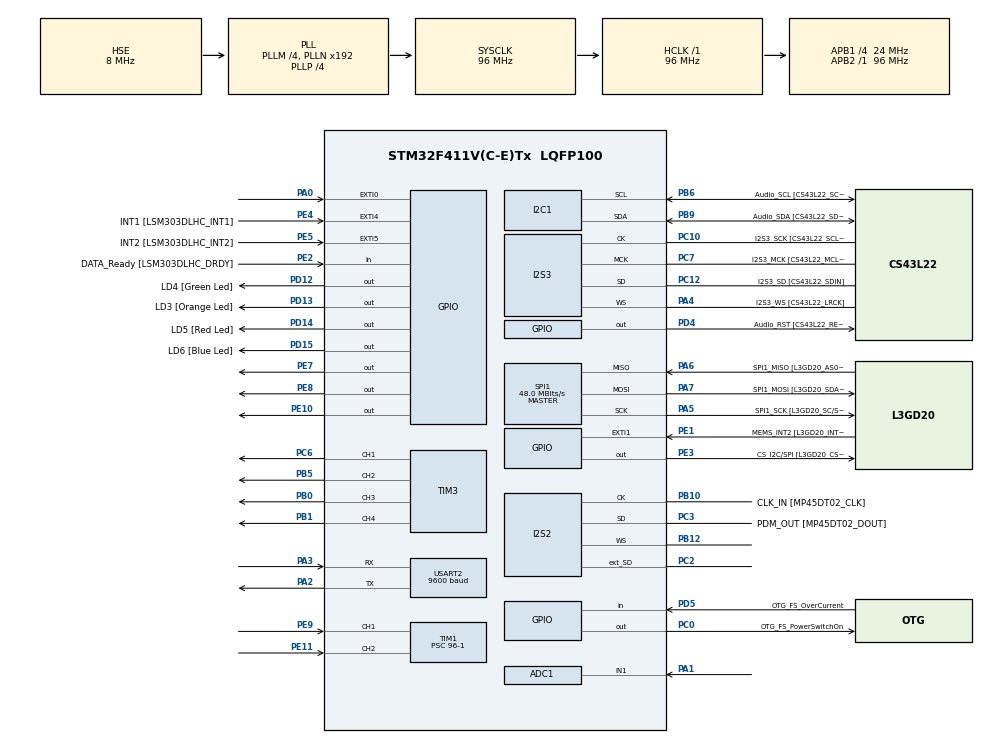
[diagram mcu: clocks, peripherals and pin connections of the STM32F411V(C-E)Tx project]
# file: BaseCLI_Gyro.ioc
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ADC1.Channel-0\#ChannelRegularConversion=ADC_CHANNEL_1
ADC1.NbrOfConversionFlag=1
ADC1.Rank-0\#ChannelRegularConversion=1
ADC1.SamplingTime-0\#ChannelRegularConversion=ADC_SAMPLETIME_3CYCLES
ADC1.master=1
I2S2.AudioFreq=I2S_AUDIOFREQ_96K
I2S2.ErrorAudioFreq=0.15 %
I2S2.FullDuplexMode=I2S_FULLDUPLEXMODE_ENABLE
I2S2.Instance=SPI$Index
I2S2.RealAudioFreq=96.153 KHz
I2S2.VirtualMode=I2S_MODE_MASTER
I2S3.AudioFreq=I2S_AUDIOFREQ_96K
I2S3.ErrorAudioFreq=-6.99 %
I2S3.FullDuplexMode=I2S_FULLDUPLEXMODE_DISABLE
I2S3.Instance=SPI$Index
I2S3.RealAudioFreq=89.285 KHz
I2S3.VirtualMode=I2S_MODE_MASTER
Mcu.Family=STM32F4
Mcu.Name=STM32F411V(C-E)Tx
Mcu.Package=LQFP100
NVIC.EXTI0_IRQn=true\:0\:0\:false\:false\:true\:true\:true\:true
NVIC.PriorityGroup=NVIC_PRIORITYGROUP_0
NVIC.TIM1_CC_IRQn=true\:0\:0\:false\:false\:true\:true\:true\:true
NVIC.USART2_IRQn=true\:0\:0\:false\:false\:true\:true\:true\:true
PA0-WKUP.GPIO_ModeDefaultEXTI=GPIO_MODE_IT_RISING
PA0-WKUP.Signal=GPXTI0
PA1.Signal=ADCx_IN1
PA10.GPIO_Label=OTG_FS_ID
PA10.Signal=USB_OTG_FS_ID
PA11.GPIO_Label=OTG_FS_DM
PA11.Signal=USB_OTG_FS_DM
PA12.GPIO_Label=OTG_FS_DP
PA12.Signal=USB_OTG_FS_DP
PA13.GPIO_Label=SWDIO
PA13.Mode=Serial_Wire
PA13.Signal=SYS_JTMS-SWDIO
PA14.GPIO_Label=SWCLK
PA14.Mode=Serial_Wire
PA14.Signal=SYS_JTCK-SWCLK
PA2.Mode=Asynchronous
PA2.Signal=USART2_TX
PA3.Mode=Asynchronous
PA3.Signal=USART2_RX
PA4.GPIO_Label=I2S3_WS [CS43L22_LRCK]
PA4.GPIO_Mode=GPIO_MODE_AF_PP
PA4.GPIO_PuPd=GPIO_NOPULL
PA4.GPIO_Speed=GPIO_SPEED_FREQ_LOW
PA4.Mode=Half_Duplex_Master
PA4.Signal=I2S3_WS
PA5.GPIO_Label=SPI1_SCK [L3GD20_SC/SPC]
PA5.Mode=Full_Duplex_Master
PA5.Signal=SPI1_SCK
PA6.GPIO_Label=SPI1_MISO [L3GD20_AS0/SDO]
PA6.Mode=Full_Duplex_Master
PA6.Signal=SPI1_MISO
PA7.GPIO_Label=SPI1_MOSI [L3GD20_SDA/SDI/SDO]
PA7.Mode=Full_Duplex_Master
PA7.Signal=SPI1_MOSI
PA9.GPIO_Label=VBUS_FS
PA9.Signal=USB_OTG_FS_VBUS
PB0.Signal=S_TIM3_CH3
PB1.Signal=S_TIM3_CH4
PB10.GPIO_Label=CLK_IN [MP45DT02_CLK]
PB10.Mode=Full_Duplex_Master
PB10.Signal=I2S2_CK
PB12.Mode=Full_Duplex_Master
PB12.Signal=I2S2_WS
PB3.GPIO_Label=SWO
PB3.Signal=SYS_JTDO-SWO
PB5.Signal=S_TIM3_CH2
PB6.GPIO_Label=Audio_SCL [CS43L22_SCL]
PB6.GPIO_Mode=GPIO_MODE_AF_OD
PB6.GPIO_Pu=GPIO_PULLUP
PB6.GPIO_PuPd=GPIO_NOPULL
PB6.GPIO_Speed=GPIO_SPEED_FREQ_LOW
PB6.Mode=I2C
PB6.Signal=I2C1_SCL
PB9.GPIO_Label=Audio_SDA [CS43L22_SDA]
PB9.GPIO_Mode=GPIO_MODE_AF_OD
PB9.GPIO_Pu=GPIO_PULLUP
PB9.GPIO_PuPd=GPIO_NOPULL
PB9.GPIO_Speed=GPIO_SPEED_FREQ_LOW
PB9.Mode=I2C
PB9.Signal=I2C1_SDA
PC0.GPIO_Label=OTG_FS_PowerSwitchOn
PC0.PinState=GPIO_PIN_SET
PC0.Signal=GPIO_Output
PC10.GPIO_Label=I2S3_SCK [CS43L22_SCLK]
PC10.GPIO_Mode=GPIO_MODE_AF_PP
PC10.GPIO_PuPd=GPIO_NOPULL
PC10.GPIO_Speed=GPIO_SPEED_FREQ_LOW
PC10.Mode=Half_Duplex_Master
PC10.Signal=I2S3_CK
PC12.GPIO_Label=I2S3_SD [CS43L22_SDIN]
PC12.GPIO_Mode=GPIO_MODE_AF_PP
PC12.GPIO_PuPd=GPIO_NOPULL
PC12.GPIO_Speed=GPIO_SPEED_FREQ_LOW
PC12.Mode=Half_Duplex_Master
PC12.Signal=I2S3_SD
PC14-OSC32_IN.GPIO_Label=PC14-OSC32_IN
PC14-OSC32_IN.Mode=LSE-External-Oscillator
PC14-OSC32_IN.Signal=RCC_OSC32_IN
PC15-OSC32_OUT.GPIO_Label=PC15-OSC32_OUT
PC15-OSC32_OUT.Mode=LSE-External-Oscillator
PC15-OSC32_OUT.Signal=RCC_OSC32_OUT
PC2.Mode=Full_Duplex_Master
PC2.Signal=I2S2_ext_SD
PC3.GPIO_Label=PDM_OUT [MP45DT02_DOUT]
PC3.Mode=Full_Duplex_Master
PC3.Signal=I2S2_SD
PC6.Signal=S_TIM3_CH1
PC7.GPIO_Label=I2S3_MCK [CS43L22_MCLK]
PC7.GPIO_Mode=GPIO_MODE_AF_PP
PC7.GPIO_PuPd=GPIO_NOPULL
PC7.GPIO_Speed=GPIO_SPEED_FREQ_LOW
PC7.Mode=Master_Clock_Activated
PC7.Signal=I2S3_MCK
PD12.GPIO_Label=LD4 [Green Led]
PD12.GPIO_PuPd=GPIO_NOPULL
PD12.GPIO_Speed=GPIO_SPEED_FREQ_LOW
PD12.Signal=GPIO_Output
PD13.GPIO_Label=LD3 [Orange Led]
PD13.GPIO_PuPd=GPIO_NOPULL
PD13.GPIO_Speed=GPIO_SPEED_FREQ_LOW
PD13.Signal=GPIO_Output
PD14.GPIO_Label=LD5 [Red Led]
PD14.GPIO_PuPd=GPIO_NOPULL
PD14.GPIO_Speed=GPIO_SPEED_FREQ_LOW
PD14.Signal=GPIO_Output
PD15.GPIO_Label=LD6 [Blue Led]
PD15.GPIO_PuPd=GPIO_NOPULL
PD15.GPIO_Speed=GPIO_SPEED_FREQ_LOW
PD15.Signal=GPIO_Output
PD4.GPIO_Label=Audio_RST [CS43L22_RESET]
PD4.Signal=GPIO_Output
PD5.GPIO_Label=OTG_FS_OverCurrent
PD5.Signal=GPIO_Input
PE1.GPIO_Label=MEMS_INT2 [L3GD20_INT2]
PE1.GPIO_ModeDefaultEXTI=GPIO_MODE_EVT_RISING
PE1.Signal=GPXTI1
PE10.Signal=GPIO_Output
PE11.Signal=S_TIM1_CH2
PE2.GPIO_Label=DATA_Ready [LSM303DLHC_DRDY]
PE2.Signal=GPIO_Input
PE3.GPIO_Label=CS_I2C/SPI [L3GD20_CS_I2C/SPI]
PE3.Signal=GPIO_Output
PE4.GPIO_Label=INT1 [LSM303DLHC_INT1]
PE4.GPIO_ModeDefaultEXTI=GPIO_MODE_EVT_RISING
PE4.Signal=GPXTI4
PE5.GPIO_Label=INT2 [LSM303DLHC_INT2]
PE5.GPIO_ModeDefaultEXTI=GPIO_MODE_EVT_RISING
PE5.Signal=GPXTI5
PE7.Signal=GPIO_Output
PE8.Signal=GPIO_Output
PE9.Signal=S_TIM1_CH1
PH0\ -\ OSC_IN.GPIO_Label=PH0-OSC_IN
PH0\ -\ OSC_IN.Mode=HSE-External-Oscillator
PH0\ -\ OSC_IN.Signal=RCC_OSC_IN
PH1\ -\ OSC_OUT.GPIO_Label=PH1-OSC_OUT
PH1\ -\ OSC_OUT.Mode=HSE-External-Oscillator
PH1\ -\ OSC_OUT.Signal=RCC_OSC_OUT
ProjectManager.HeapSize=0x200
ProjectManager.StackSize=0x400
ProjectManager.TargetToolchain=STM32CubeIDE
RCC.48MHZClocksFreq_Value=48000000
RCC.AHBFreq_Value=96000000
RCC.APB1CLKDivider=RCC_HCLK_DIV4
RCC.APB1Freq_Value=24000000
RCC.APB1TimFreq_Value=48000000
RCC.APB2Freq_Value=96000000
RCC.APB2TimFreq_Value=96000000
RCC.CortexFreq_Value=96000000
RCC.HCLKFreq_Value=96000000
RCC.HSE_VALUE=8000000
RCC.HSI_VALUE=16000000
RCC.PLLI2SM=5
RCC.PLLI2SN=200
RCC.PLLM=4
RCC.PLLP=RCC_PLLP_DIV4
RCC.PLLQ=8
RCC.PLLSourceVirtual=RCC_PLLSOURCE_HSE
RCC.SYSCLKFreq_VALUE=96000000
RCC.SYSCLKSource=RCC_SYSCLKSOURCE_PLLCLK
RCC.VCOOutputFreq_Value=384000000
SH.ADCx_IN1.0=ADC1_IN1,IN1
SH.S_TIM1_CH1.0=TIM1_CH1,Input_Capture1_from_TI1
SH.S_TIM1_CH2.0=TIM1_CH2,Input_Capture2_from_TI2
SH.S_TIM3_CH1.0=TIM3_CH1,PWM Generation1 CH1
SH.S_TIM3_CH2.0=TIM3_CH2,PWM Generation2 CH2
SH.S_TIM3_CH3.0=TIM3_CH3,PWM Generation3 CH3
SH.S_TIM3_CH4.0=TIM3_CH4,PWM Generation4 CH4
SPI1.BaudRatePrescaler=SPI_BAUDRATEPRESCALER_2
SPI1.CalculateBaudRate=48.0 MBits/s
SPI1.Direction=SPI_DIRECTION_2LINES
SPI1.Mode=SPI_MODE_MASTER
SPI1.VirtualType=VM_MASTER
TIM1.Channel-Input_Capture1_from_TI1=TIM_CHANNEL_1
TIM1.Channel-Input_Capture2_from_TI2=TIM_CHANNEL_2
TIM1.Prescaler=96-1
TIM2.Prescaler=96-1
TIM3.AutoReloadPreload=TIM_AUTORELOAD_PRELOAD_ENABLE
TIM3.Channel-PWM\ Generation1\ CH1=TIM_CHANNEL_1
TIM3.Channel-PWM\ Generation2\ CH2=TIM_CHANNEL_2
TIM3.Channel-PWM\ Generation3\ CH3=TIM_CHANNEL_3
TIM3.Channel-PWM\ Generation4\ CH4=TIM_CHANNEL_4
USART2.BaudRate=9600
USART2.VirtualMode=VM_ASYNC
VP_TIM2_VS_ClockSourceINT.Mode=Internal
VP_TIM3_VS_ClockSourceINT.Mode=Internal
board=STM32F411E-DISCO

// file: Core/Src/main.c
/* USER CODE BEGIN Header */
/**
 * William Goethals
 * Nov 2022 for MES
  ******************************************************************************
  * @file           : main.c
  * @brief          : Main program body
  ******************************************************************************
  * @attention
  *
  ******************************************************************************
  */
/* USER CODE END Header */
#include "main.h"
#include "adc.h"
#include "i2c.h"
#include "i2s.h"
#include "spi.h"
#include "tim.h"
#include "usart.h"
#include "gpio.h"

/* USER CODE BEGIN Includes */
#include "input_buf.h"
#include "console.h"
#include <stdbool.h>
#include "../../Drivers/BSP/STM32F411E-Discovery/stm32f411e_discovery_accelerometer.h"
/* USER CODE END Includes */

/* USER CODE BEGIN PV */
// Flash in STM32F411 is from 0x0800 0000 to 0x0807 FFFF
#define FLASH_START 0x08009000

//State for operation and headings
enum operation_mode {mode_cli = 0, mode_local = 1, mode_moving = 2, mode_sensing = 3, mode_measure = 4};
enum operation_mode op_mode = mode_cli;
bool button_pressed = false;
enum heading{north =0, east=1, south = 2, west =3};
enum heading current_heading = north;

// Movement vars
bool block = false;

// CLI vars
uint8_t uart_byte_buf[1];
input_buf uart_buf;
char c;
bool echo;
char buf[20];
extern char mReceiveBuffer[256]; // should be CONSOLE_COMMAND_MAX_LENGTH, but it's in consoleCommands.h
extern uint32_t mReceivedSoFar;

// Button Vars
uint32_t previousMs = 0;
uint32_t currentMs = 0;

// timer vars for Sonar
uint32_t IC_Val1 = 0;
uint32_t IC_Val2 = 0;
uint32_t Difference = 0;
uint8_t Is_First_Captured = 0;  // is the first value captured ?
uint8_t Distance   = 0;
uint8_t DistanceR  = 0;
uint8_t DistanceL  = 0;
uint32_t wall_space = 30; // Start with the wall ~ 1 foot away and move it

// Motor Vars
const uint16_t turn_time = 800;
const uint16_t forward_time = 500;
const uint32_t speed = 30000;
const uint32_t speed_R = speed*.82;

// Gas and location vars
uint16_t gas_values[30][30]; // setting larger than testing space - to change to dynamically allocated Array in FUTURE
uint32_t x_loc = 0;
uint32_t y_loc = 0;
uint32_t x_ori = 0;
uint32_t y_ori = 0;

uint16_t rawADC;

// Settings for just doing a perimeter or small demo movement
bool perimeter_only = true;
bool demo_mode = false;

#define TRIG_PINL GPIO_PIN_7
#define TRIG_PINR GPIO_PIN_10
#define TRIG_PIN GPIO_PIN_8
#define TRIG_PORT GPIOE
/* USER CODE END PV */

void SystemClock_Config(void);
void PeriphCommonClock_Config(void);
/* USER CODE BEGIN PFP */
void cli_check(void);
void delay_us(uint16_t us);
void HCSR04_Read(void);
void HCSR04_ReadRight(void);
void HCSR04_ReadLeft(void);

void straight(uint16_t ms_time);
void right(uint16_t ms_time);
void left(uint16_t ms_time);
void back(uint16_t ms_time);
void wall_follow(void);
uint16_t read_gas(void);
void demo_drive(void);
void check_sonar(void);
void linear_reg(int n);
void flash_write(uint64_t data);
void origin_check(void);
void update_heading(void);
void update_heading_back(void);

/* USER CODE END PFP */

/* USER CODE BEGIN 0 */
// uart interrupt callback
// huart2 defined in usart.c, generated from cubemx
void HAL_UART_RxCpltCallback(UART_HandleTypeDef *huart) {
	c = uart_byte_buf[0];
	echo = true;
	input_buf_add(&uart_buf, uart_byte_buf[0]);
	HAL_UART_Receive_IT(&huart2, uart_byte_buf, 1);
}
/* USER CODE END 0 */

int main(void)
{

  /* MCU Configuration--------------------------------------------------------*/

  /* Reset of all peripherals, Initializes the Flash interface and the Systick. */
  HAL_Init();

  /* Configure the system clock */
  SystemClock_Config();

/* Configure the peripherals common clocks */
  PeriphCommonClock_Config();

  /* USER CODE BEGIN SysInit */
  BSP_ACCELERO_Init();
  /* USER CODE END SysInit */

  /* Initialize all configured peripherals */
  MX_GPIO_Init();
  MX_I2C1_Init();
  MX_I2S2_Init();
  MX_I2S3_Init();
  MX_SPI1_Init();
  MX_USART2_UART_Init();
  MX_TIM1_Init();
  MX_TIM2_Init();
  MX_TIM3_Init();
  MX_ADC1_Init();
  /* USER CODE BEGIN 2 */
  ConsoleInit();
  input_buf_reset(&uart_buf);
  HAL_UART_Receive_IT(&huart2, uart_byte_buf, 1);
  HAL_TIM_Base_Start(&htim1);
  HAL_TIM_Base_Start(&htim2);
  HAL_TIM_PWM_Start(&htim3, TIM_CHANNEL_1);
  HAL_TIM_PWM_Start(&htim3, TIM_CHANNEL_2);
  HAL_TIM_PWM_Start(&htim3, TIM_CHANNEL_3);
  HAL_TIM_PWM_Start(&htim3, TIM_CHANNEL_4);
  HAL_TIM_IC_Start_IT(&htim1, TIM_CHANNEL_1);
  HAL_TIM_IC_Start_IT(&htim1, TIM_CHANNEL_2);
  HAL_TIM_IC_Start_IT(&htim1, TIM_CHANNEL_3);
  // For running motors comment for now
  //HAL_TIM_PWM_Start(&htim3, TIM_CHANNEL_1);

  /* USER CODE END 2 */

  /* Infinite loop */
  /* USER CODE BEGIN WHILE */
  while (1)
  {
	  switch(op_mode)
	  	  {
	  	  case mode_cli:
	  		  cli_check();
	  			if(button_pressed != 0)
	  			{
	  				op_mode = mode_local;
	  			}
	  		  break;
	  	  case mode_local:
	  		  //find where I am if first time
	  		  // eCompass to set direction, for now, origin is North relative
	  		  current_heading = north;
	  		  op_mode = mode_moving;
	  		  break;
	  	  case mode_moving:
	  		  if(demo_mode)
	  		  {
	  			  demo_drive();
	  		  }
	  		  else
	  		  {
	  			  check_sonar();
	  			  wall_follow();
	  		  }
	  		  break;
	  	  case mode_sensing:
	  		  origin_check();
	  		  gas_values[x_loc][y_loc] = read_gas();
	  		  op_mode = mode_moving;
	  		  break;
	  	  case mode_measure:
	  		  linear_reg(2);
	  		  cli_check();
	  		  break;

	  	  }
    /* USER CODE END WHILE */

  }
}

void SystemClock_Config(void)
{
  RCC_OscInitTypeDef RCC_OscInitStruct = {0};
  RCC_ClkInitTypeDef RCC_ClkInitStruct = {0};

  /** Configure the main internal regulator output voltage
  */
  __HAL_RCC_PWR_CLK_ENABLE();
  __HAL_PWR_VOLTAGESCALING_CONFIG(PWR_REGULATOR_VOLTAGE_SCALE1);

  /** Initializes the RCC Oscillators according to the specified parameters
  * in the RCC_OscInitTypeDef structure.
  */
  RCC_OscInitStruct.OscillatorType = RCC_OSCILLATORTYPE_HSE;
  RCC_OscInitStruct.HSEState = RCC_HSE_ON;
  RCC_OscInitStruct.PLL.PLLState = RCC_PLL_ON;
  RCC_OscInitStruct.PLL.PLLSource = RCC_PLLSOURCE_HSE;
  RCC_OscInitStruct.PLL.PLLM = 4;
  RCC_OscInitStruct.PLL.PLLN = 192;
  RCC_OscInitStruct.PLL.PLLP = RCC_PLLP_DIV4;
  RCC_OscInitStruct.PLL.PLLQ = 8;
  if (HAL_RCC_OscConfig(&RCC_OscInitStruct) != HAL_OK)
  {
    Error_Handler();
  }

  /** Initializes the CPU, AHB and APB buses clocks
  */
  RCC_ClkInitStruct.ClockType = RCC_CLOCKTYPE_HCLK|RCC_CLOCKTYPE_SYSCLK
                              |RCC_CLOCKTYPE_PCLK1|RCC_CLOCKTYPE_PCLK2;
  RCC_ClkInitStruct.SYSCLKSource = RCC_SYSCLKSOURCE_PLLCLK;
  RCC_ClkInitStruct.AHBCLKDivider = RCC_SYSCLK_DIV1;
  RCC_ClkInitStruct.APB1CLKDivider = RCC_HCLK_DIV4;
  RCC_ClkInitStruct.APB2CLKDivider = RCC_HCLK_DIV1;

  if (HAL_RCC_ClockConfig(&RCC_ClkInitStruct, FLASH_LATENCY_3) != HAL_OK)
  {
    Error_Handler();
  }
}

void PeriphCommonClock_Config(void)
{
  RCC_PeriphCLKInitTypeDef PeriphClkInitStruct = {0};

  /** Initializes the peripherals clock
  */
  PeriphClkInitStruct.PeriphClockSelection = RCC_PERIPHCLK_I2S;
  PeriphClkInitStruct.PLLI2S.PLLI2SN = 200;
  PeriphClkInitStruct.PLLI2S.PLLI2SM = 5;
  PeriphClkInitStruct.PLLI2S.PLLI2SR = 2;
  if (HAL_RCCEx_PeriphCLKConfig(&PeriphClkInitStruct) != HAL_OK)
  {
    Error_Handler();
  }
}

/* USER CODE BEGIN 4 */
void cli_check(void)
{
 	if(echo) {
		sprintf((char*)buf, "%c", c);
  		HAL_UART_Transmit(&huart2, buf, 1, HAL_MAX_DELAY);
  		echo = false;
  	}

  	if(input_buf_ready(&uart_buf)) {
  		// remove the c in sprintf((char*)buf, "\r\n", c);
  		sprintf((char*)buf, "\r\n", c);
  		HAL_UART_Transmit(&huart2, buf, 2, HAL_MAX_DELAY);
			ConsoleProcess();
			input_buf_reset(&uart_buf);
			// unsure why console.c doesn't clear, so let's clear it here
			for(uint16_t i=0; i<256; i++) { // should be CONSOLE_COMMAND_MAX_LENGTH, but it's in consoleCommands.h
				mReceiveBuffer[i] = 0;
			}
			mReceivedSoFar = 0;
		}
}
/* USER CODE BEGIN 4 */
// Sonar Calls for each direction
// FUTURE simplify and use different Trigger pins for each
void HAL_TIM_IC_CaptureCallback(TIM_HandleTypeDef *htim)
{
	if (htim->Channel == HAL_TIM_ACTIVE_CHANNEL_1)  // if the interrupt source is channel1
	{
		if (Is_First_Captured==0) // if the first value is not captured
		{
			IC_Val1 = HAL_TIM_ReadCapturedValue(htim, TIM_CHANNEL_1); // read the first value
			Is_First_Captured = 1;  // set the first captured as true
			// Now change the polarity to falling edge
			__HAL_TIM_SET_CAPTUREPOLARITY(htim, TIM_CHANNEL_1, TIM_INPUTCHANNELPOLARITY_FALLING);
		}

		else if (Is_First_Captured==1)   // if the first is already captured
		{
			IC_Val2 = HAL_TIM_ReadCapturedValue(htim, TIM_CHANNEL_1);  // read second value
			__HAL_TIM_SET_COUNTER(htim, 0);  // reset the counter

			if (IC_Val2 > IC_Val1)
			{
				Difference = IC_Val2-IC_Val1;
			}

			else if (IC_Val1 > IC_Val2)
			{
				Difference = (0xffff - IC_Val1) + IC_Val2;
			}

			Distance = Difference * .034/2;
			Is_First_Captured = 0; // set it back to false

			// set polarity to rising edge
			__HAL_TIM_SET_CAPTUREPOLARITY(htim, TIM_CHANNEL_1, TIM_INPUTCHANNELPOLARITY_RISING);
			__HAL_TIM_DISABLE_IT(&htim1, TIM_IT_CC1);
		}
	}
	if (htim->Channel == HAL_TIM_ACTIVE_CHANNEL_2)  // if the interrupt source is channel1
	{
		if (Is_First_Captured==0) // if the first value is not captured
		{
			IC_Val1 = HAL_TIM_ReadCapturedValue(htim, TIM_CHANNEL_2); // read the first value
			Is_First_Captured = 1;  // set the first captured as true
			// Now change the polarity to falling edge
			__HAL_TIM_SET_CAPTUREPOLARITY(htim, TIM_CHANNEL_2, TIM_INPUTCHANNELPOLARITY_FALLING);
		}

		else if (Is_First_Captured==1)   // if the first is already captured
		{
			IC_Val2 = HAL_TIM_ReadCapturedValue(htim, TIM_CHANNEL_2);  // read second value
			__HAL_TIM_SET_COUNTER(htim, 0);  // reset the counter

			if (IC_Val2 > IC_Val1)
			{
				Difference = IC_Val2-IC_Val1;
			}

			else if (IC_Val1 > IC_Val2)
			{
				Difference = (0xffff - IC_Val1) + IC_Val2;
			}

			DistanceR = Difference * .034/2;
			Is_First_Captured = 0; // set it back to false

			// set polarity to rising edge
			__HAL_TIM_SET_CAPTUREPOLARITY(htim, TIM_CHANNEL_2, TIM_INPUTCHANNELPOLARITY_RISING);
			__HAL_TIM_DISABLE_IT(&htim1, TIM_IT_CC2);
		}
	}
	if (htim->Channel == HAL_TIM_ACTIVE_CHANNEL_3)  // if the interrupt source is channel1
	{
		if (Is_First_Captured==0) // if the first value is not captured
		{
			IC_Val1 = HAL_TIM_ReadCapturedValue(htim, TIM_CHANNEL_3); // read the first value
			Is_First_Captured = 1;  // set the first captured as true
			// Now change the polarity to falling edge
			__HAL_TIM_SET_CAPTUREPOLARITY(htim, TIM_CHANNEL_3, TIM_INPUTCHANNELPOLARITY_FALLING);
		}

		else if (Is_First_Captured==1)   // if the first is already captured
		{
			IC_Val2 = HAL_TIM_ReadCapturedValue(htim, TIM_CHANNEL_3);  // read second value
			__HAL_TIM_SET_COUNTER(htim, 0);  // reset the counter

			if (IC_Val2 > IC_Val1)
			{
				Difference = IC_Val2-IC_Val1;
			}

			else if (IC_Val1 > IC_Val2)
			{
				Difference = (0xffff - IC_Val1) + IC_Val2;
			}

			DistanceL = Difference * .034/2;
			Is_First_Captured = 0; // set it back to false

			// set polarity to rising edge
			__HAL_TIM_SET_CAPTUREPOLARITY(htim, TIM_CHANNEL_3, TIM_INPUTCHANNELPOLARITY_RISING);
			__HAL_TIM_DISABLE_IT(&htim1, TIM_IT_CC3);
		}
	}
}
void HCSR04_Read (void)
{
	HAL_GPIO_WritePin(TRIG_PORT, TRIG_PIN, GPIO_PIN_SET);  // pull the TRIG pin HIGH
	delay_us(10);  // wait for 10 us
	HAL_GPIO_WritePin(TRIG_PORT, TRIG_PIN, GPIO_PIN_RESET);  // pull the TRIG pin low

	__HAL_TIM_ENABLE_IT(&htim1, TIM_IT_CC1);

}

void HCSR04_ReadRight (void)
{
	HAL_GPIO_WritePin(TRIG_PORT, TRIG_PIN, GPIO_PIN_SET);  // pull the TRIG pin HIGH
	delay_us(10);  // wait for 10 us
	HAL_GPIO_WritePin(TRIG_PORT, TRIG_PIN, GPIO_PIN_RESET);  // pull the TRIG pin low

	__HAL_TIM_ENABLE_IT(&htim1, TIM_IT_CC2);

}

void HCSR04_ReadLeft (void)
{
	HAL_GPIO_WritePin(TRIG_PORT, TRIG_PIN, GPIO_PIN_SET);  // pull the TRIG pin HIGH
	delay_us(10);  // wait for 10 us
	HAL_GPIO_WritePin(TRIG_PORT, TRIG_PIN, GPIO_PIN_RESET);  // pull the TRIG pin low

	__HAL_TIM_ENABLE_IT(&htim1, TIM_IT_CC3);

}

// Timer for ultrasonic echo
void delay_us(uint16_t us)
{
	__HAL_TIM_SET_COUNTER(&htim2, 0);
	while(__HAL_TIM_GET_COUNTER(&htim2) < us);
}

void HAL_GPIO_EXTI_Callback(uint16_t GPIO_Pin){
	currentMs = HAL_GetTick();
	if((GPIO_Pin == GPIO_PIN_0) && (currentMs - previousMs > 10) ){
		if(HAL_GPIO_ReadPin(GPIOA, GPIO_Pin)){
			// Rising
			HAL_GPIO_WritePin(GPIOD, LD6_Pin, GPIO_PIN_SET);
			button_pressed = true; // exit cli mode
		}
		else{
			// Falling
			HAL_GPIO_WritePin(GPIOD, LD6_Pin, GPIO_PIN_RESET);
		}
	}
	previousMs = currentMs;
}

void straight(uint16_t ms_time)
{
	  TIM3->CCR1 = speed;
	  TIM3->CCR3 = 0;
	  TIM3->CCR2 = speed_R;
	  TIM3->CCR4 = 0;
	  HAL_Delay(ms_time);
	  TIM3->CCR1 = 0;
	  TIM3->CCR3 = 0;
	  TIM3->CCR2 = 0;
	  TIM3->CCR4 = 0;
	  HAL_Delay(1000);
}
void left(uint16_t ms_time)
{
	  TIM3->CCR1 = 0;
	  TIM3->CCR3 = speed;
	  TIM3->CCR2 = speed_R;
	  TIM3->CCR4 = 0;
	  HAL_Delay(ms_time);
	  TIM3->CCR1 = 0;
	  TIM3->CCR3 = 0;
	  TIM3->CCR2 = 0;
	  TIM3->CCR4 = 0;
	  HAL_Delay(1000);
}
void right(uint16_t ms_time)
{
	  TIM3->CCR1 = speed;
	  TIM3->CCR3 = 0;
	  TIM3->CCR2 = 0;
	  TIM3->CCR4 = speed_R;
	  HAL_Delay(ms_time);
	  TIM3->CCR1 = 0;
	  TIM3->CCR3 = 0;
	  TIM3->CCR2 = 0;
	  TIM3->CCR4 = 0;
	  HAL_Delay(1000);
}
void back(uint16_t ms_time)
{
	  TIM3->CCR1 = 0;
	  TIM3->CCR3 = speed;
	  TIM3->CCR2 = 0;
	  TIM3->CCR4 = speed_R;
	  HAL_Delay(ms_time);
	  TIM3->CCR1 = 0;
	  TIM3->CCR3 = 0;
	  TIM3->CCR2 = 0;
	  TIM3->CCR4 = 0;
	  HAL_Delay(1000);
}
void heading_left(void)
{
	if(current_heading == 0)
	{
		current_heading = 3;
	}
	else
	{
		current_heading--;
	}
}
void heading_right(void)
{
	if(current_heading == 3)
	{
		current_heading = 0;
	}
	else
	{
		current_heading++;
	}
}

void wall_follow(void)
{

	  if(DistanceR > wall_space && !block)
	  {
		  // if an open to the right go there
		  right(turn_time);
		  heading_right();
		  straight(forward_time); // unit must go forward or it will circle
		  block = 0;
		  update_heading();
		  op_mode = mode_sensing;
	  }
	  else if(Distance > 30)
	  {
		  //nothing in front
		  straight(forward_time);
		  block = 0;
		  update_heading();
		  op_mode = mode_sensing;

	  }
	  else if(DistanceL > 60)
	  {
		  //if blocked go left
		  left(turn_time);
		  block = 0;
		  heading_left();
	  }
	  else
	  {
		  // dead end back up and don't go straight
		  back(forward_time);
		  block = 1;
		  // update grid location
		  update_heading_back();
	  }

}
void update_heading(void)
{
	switch(current_heading)
	{
	  case north:
		  x_loc++;
		  break;
	  case east:
		  y_loc--;
		  break;
	  case south:
		  x_loc--;
		  break;
	  case west:
		  y_loc++;
		  break;
	}
}
void update_heading_back(void)
{
	  switch(current_heading)
	  {
		  case north:
			  x_loc--;
			  break;
		  case east:
			  y_loc++;
			  break;
		  case south:
			  x_loc++;
			  break;
		  case west:
			  y_loc--;
			  break;
	  }
}

// Check if robot is back to the origin point
void origin_check(void)
{
	if(x_loc == x_ori && y_loc == y_ori)
	{
		if(perimeter_only)
		{
			// Back at the origin then end the session
			op_mode = mode_measure;
		}
		else
		{
			// Move in and go around again
			// Must go in and forward else endless cycle
			// FUTURE to build this for irregular rooms
			left(turn_time);
			heading_left();
			straight(forward_time);
			update_heading();
			right(turn_time);
			heading_right();
			straight(forward_time);
			update_heading();
			// update the loop starting point
			x_ori = x_loc;
			y_ori = y_loc;
			// Set the new distance from the wall
			wall_space = wall_space + 30;
			if(gas_values[x_loc][y_loc != 0])
			{
				// if value has been taken then the grid is closed
				// this only works in rectangular rooms
				// FUTURE change to search grid for zeros
				op_mode = mode_measure;
			}

		}
	}
}

void check_sonar(void)
{
	  HCSR04_Read();
	  HAL_Delay(200);
	  HCSR04_ReadRight();
	  HAL_Delay(200);
	  HCSR04_ReadLeft();
	  HAL_Delay(400);
}

void demo_drive(void)
{
	uint8_t movement_units= 5;
	  for(int i = movement_units; i > 0; i--)
		  {
			  //nothing in front
			  straight(forward_time);
			  block = 0;
			  update_heading();
			  //measure ADC
			  HAL_Delay(1000);
			  gas_values[x_loc][y_loc] = read_gas();
		  }
	  left(turn_time);
	  heading_left();
	  straight(forward_time);
	  left(turn_time);
	  heading_left();
	  gas_values[x_loc][y_loc] = read_gas();
	  for(int i = movement_units; i > 0; i--)
		  {
			  //nothing in front
			  straight(forward_time);
			  block = 0;
			  update_heading();
			  //measure ADC
			  HAL_Delay(1000);
			  gas_values[x_loc][y_loc] = read_gas();
		  }
	linear_reg(2);

}

void findHighest(int* x, int* y)
{
	int n = 10;
	int m = 10;

     for (int i = 0; i < n; i++)
     {
         int max = gas_values[i][0];
         for (int j = 1; j < m; j++)
         {
             if (gas_values[i][j] > max)
             {
                max = gas_values[i][j];
                *x = i;
                *y = j;
             }
         }
     }
     //null the max so we can get the next value
     gas_values[*x][*y] = 0;

}

void linear_reg(int n)
{
	//variables
   int i;
   int x,y;
   float m,c,d;
   float sumx=0,sumxsq=0,sumy=0,sumxy=0;

	//find max points

	// calculate m and c
	for(i=0;i<n;i++){
		findHighest(&y,&x);
	   sumx=sumx+x;
	   sumxsq=sumxsq+(x*x);
	   sumy=sumy+y;
	   sumxy=sumxy+(x*y);
	}

	d=n*sumxsq-sumx*sumx;
	m=(n*sumxy-sumx*sumy)/d;
	c=(sumy*sumxsq-sumx*sumxy)/d;
	uint64_t m_int = (uint64_t)m;
	uint64_t c_int = (uint64_t)c;
	uint64_t flash_data = ((uint64_t)m_int << 32) | c_int;
	flash_write(flash_data);
}

void flash_write(uint64_t data)
{

	HAL_FLASH_Unlock();
	//HAL_FLASH_OB_Unlock();
	// Erase
	//Instantiate the FLASH_EraseInitTypeDef struct needed for the HAL_FLASHEx_Erase() function
	FLASH_EraseInitTypeDef FLASH_EraseInitStruct = {0};

	FLASH_EraseInitStruct.TypeErase = FLASH_TYPEERASE_SECTORS;  //Erase type set to sectors
	FLASH_EraseInitStruct.Sector = 5;            				//sector 0x0800 C000
	FLASH_EraseInitStruct.NbSectors = 1;                        //The number of sectors
	FLASH_EraseInitStruct.VoltageRange = FLASH_VOLTAGE_RANGE_3;

	uint32_t  errorStatus = 0;

	HAL_FLASHEx_Erase(&FLASH_EraseInitStruct,&errorStatus);
	HAL_Delay(10);
	// FLASH->CR &= (FLASH_CR_PG);

	HAL_FLASH_Program(FLASH_TYPEPROGRAM_DOUBLEWORD,0x08020000, data);

	HAL_Delay(10);
	HAL_FLASH_Lock();
}

uint16_t read_gas(void)
{
	uint16_t rawADC;
	HAL_ADC_Start(&hadc1);
	HAL_ADC_PollForConversion(&hadc1, HAL_MAX_DELAY);
	rawADC = HAL_ADC_GetValue(&hadc1);
	return rawADC;
}

/* USER CODE END 4 */

void Error_Handler(void)
{
  __disable_irq();
  while (1)
  {
  }
}
